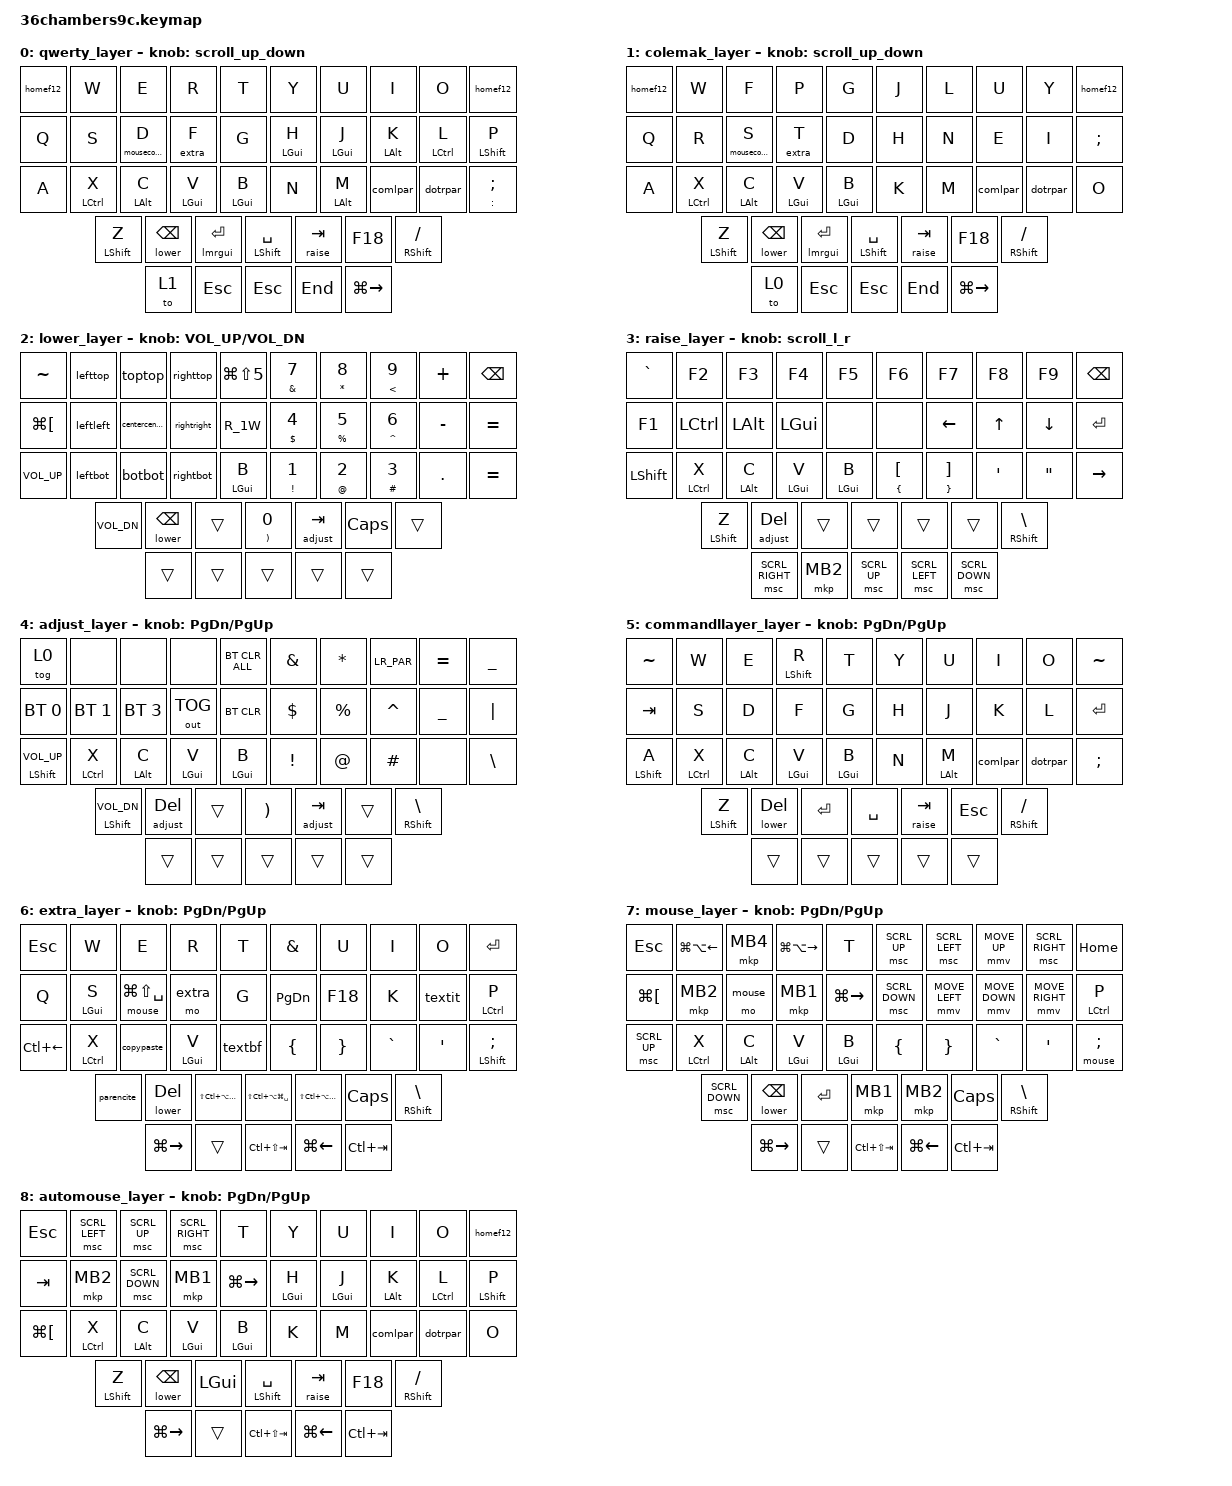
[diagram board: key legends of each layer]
/*
 * Copyright (c) 2020 The ZMK Contributors
 *;
 * SPDX-License-Identifier: MIT
west build -d build/363left -p -b seeeduino_xiao_ble -- -DSHIELD=36chambers3_left
west build -d build/363right -p -b seeeduino_xiao_ble -- -DSHIELD=36chambers3_right

docker cp funny_cray:/workspaces/zmk/app/build/363left/zephyr/zmk.uf2 ~/Desktop/36chambers3L.uf2
docker cp funny_cray:/workspaces/zmk/app/build/363Right/zephyr/zmk.uf2 ~/Desktop/36chambers3R.uf2


west build -d build/369cLeft -p -b seeeduino_xiao_ble -- -DSHIELD=36chambers9c_left -DZMK_EXTRA_MODULES="/workspaces/zmk/app/cirque-input-module-main"
west build -d build/369cRight -p -b seeeduino_xiao_ble -- -DSHIELD=36chambers9c_right -DZMK_EXTRA_MODULES="/workspaces/zmk/app/cirque-input-module-main"
west build -d build/369cCirque -p -b seeeduino_xiao_ble -- -DSHIELD=36chambers9c_cirque -DZMK_EXTRA_MODULES="/workspaces/zmk/app/cirque-input-module-main"

docker cp magical_haslett:/workspaces/zmk/app/build/369cLeft/zephyr/zmk.uf2 ~/Desktop/36chambers9cL.uf2
docker cp magical_haslett:/workspaces/zmk/app/build/369cRight/zephyr/zmk.uf2 ~/Desktop/36chambers9cR.uf2
docker cp magical_haslett:/workspaces/zmk/app/build/369cCirque/zephyr/zmk.uf2 ~/Desktop/36chambers9cC.uf2

docker cp sleepy_burnell:/workspaces/zmk/app/build/369left/zephyr/zmk.uf2 ~/Desktop/36chambers9Lc.uf2
docker cp sleepy_burnell:/workspaces/zmk/app/build/369Right/zephyr/zmk.uf2 ~/Desktop/36chambers9Rc.uf2
 */

#include <behaviors.dtsi>
#include <dt-bindings/zmk/keys.h>
#include <dt-bindings/zmk/bt.h>
#include <dt-bindings/zmk/outputs.h>
#include <dt-bindings/zmk/mouse.h>
#include <dt-bindings/zmk/pointing.h>

#define qwerty 0
#define colemak 1
#define lower 2
#define raise 3
#define adjust 4
#define commandllayer 5
#define extra 6
#define mouse 7
#define automouse 8
// #define cmtoqw 6
// #define lock 7
// #define locklow 8
// #define unlock 9
// #define lockhigh 10
#define ZMK_POINTING_DEFAULT_MOVE_VAL 3500  // default: 600
#define ZMK_POINTING_DEFAULT_SCRL_VAL 30

&mt {
    tapping-term-ms = <200>;
    flavor = "hold-preferred";
};

&lt {
    tapping-term-ms = <200>;
    flavor = "hold-preferred";
};


/{ // <---[[root node]]    
    macros {
        R_1W: R_1W {
            label = "R_1W";
            compatible = "zmk,behavior-macro";
            #binding-cells = <0>;
            wait-ms = <0>;
            tap-ms = <0>;
            bindings
                = <&macro_press &kp LSHFT>
                , <&macro_tap &kp S>
                , <&macro_release &kp LSHFT>
                , <&macro_tap &kp H &kp A &kp W &kp U &kp A &kp J &kp Y &kp D &kp S &kp N>
                ;
        };
        Grader1: GRDR1 {
            label = "GRDR1";
            compatible = "zmk,behavior-macro";
            #binding-cells = <0>;
            wait-ms = <40>;
            tap-ms = <40>;
            bindings
                = <&macro_tap &kp B &kp TAB &kp TAB
                &kp 3 &kp TAB &kp TAB
                &kp 3 &kp TAB &kp TAB
                &kp 3 &kp TAB &kp TAB
                &kp 3 &kp TAB &kp TAB
                &kp 3 &kp TAB &kp TAB
                &kp 3 &kp TAB &kp TAB
                &kp 3 &kp TAB &kp TAB
                &kp 3 &kp TAB &kp TAB
                &kp 3 &kp TAB &kp TAB &kp TAB
                &kp SPACE
                >
                ;
        };
        textit: textit {
            label = "textit";
            compatible = "zmk,behavior-macro";
            #binding-cells = <0>;
            wait-ms = <20>;
            tap-ms = <10>;
            bindings
                = <&macro_tap 
                &kp LBRC &kp LEFT &kp LEFT
                &kp BSLH &kp F &kp K &kp X &kp F &kp L &kp F>
                ,<&macro_press &kp LALT>
                ,<&macro_tap &kp RIGHT &kp RIGHT>
                ,<&macro_release &kp LALT>
                ;
        };
        textbf: textbf {
            label = "textbf";
            compatible = "zmk,behavior-macro";
            #binding-cells = <0>;
            wait-ms = <20>;
            tap-ms = <10>;
            bindings
                = <&macro_tap 
                &kp LBRC &kp LEFT &kp LEFT
                &kp BSLH &kp F &kp K &kp X &kp F &kp B &kp E>
                ,<&macro_press 
                &kp LALT>
                ,<&macro_tap 
                &kp RIGHT &kp RIGHT>
                ,<&macro_release 
                &kp LALT>
                ;
        };
        LR_PAR: LR_PAR {
            label = "LR_PAR";
            compatible = "zmk,behavior-macro";
            #binding-cells = <0>;
            wait-ms = <40>;
            tap-ms = <40>;
            bindings
                = <&macro_press &kp LSHFT>
                , <&macro_tap &kp N9 &kp N0>
                , <&macro_release &kp LSHFT>
                , <&macro_tap &kp LEFT>
                ;
        };
        lmrgui: lmrgui {
            label = "lmrgui";
            compatible = "zmk,behavior-macro";
            wait-ms = <0>;
            tap-ms = <0>;
            #binding-cells = <0>;
            bindings
                = <&macro_press &mo commandllayer &kp RGUI>
                , <&macro_pause_for_release>
                , <&macro_release &mo commandllayer &kp RGUI>
                ;
        };
        mousecombo: mousecombo {
            label = "mousecombo";
            compatible = "zmk,behavior-macro";
            wait-ms = <0>;
            tap-ms = <0>;
            #binding-cells = <0>;
            bindings
                = <&macro_press &kp LGUI &kp LSHFT> 
                , <&macro_tap &kp SPACE>
                , <&macro_release &kp LGUI &kp LSHFT>
                , <&macro_press &mo mouse>
                , <&macro_pause_for_release>
                , <&macro_release &mo mouse>
                ;
        };
        parencite: parencite {
            label = "parencite";
            compatible = "zmk,behavior-macro";
            #binding-cells = <0>;
            wait-ms = <10>;
            tap-ms = <20>;
            bindings
                = <&macro_tap &kp BSLH &kp R &kp A &kp S &kp K &kp J &kp C &kp L &kp F &kp K>
                , <&macro_tap &kp LBKT &kp RBKT  &kp LBRC &kp RBRC &kp LEFT &kp LEFT &kp LBKT &kp RBKT &kp RIGHT &kp RIGHT>
                ;
        };
        // \(\beta\)
        beta: beta {
            label = "beta";
            compatible = "zmk,behavior-macro";
            #binding-cells = <0>;
            wait-ms = <10>;
            tap-ms = <30>;
            bindings
                = <&macro_tap &kp BSLH &kp LPAR &kp BSLH &kp B &kp K &kp J &kp A &kp BSLH &kp RPAR>
                ;
        };
        // ($R^2_{adj}$
        radjsq: radjsq {
            label = "radjsq";
            compatible = "zmk,behavior-macro";
            #binding-cells = <0>;
            wait-ms = <10>;
            tap-ms = <30>;
            bindings
                = <&macro_tap &kp LPAR &kp DLLR>
                , <&macro_press &kp RSHFT> 
                , <&kp S>
                , <&macro_release &kp RSHFT>
                , <&kp AMPS &kp UNDER &kp LBRC &kp A &kp G &kp Y &kp RBRC &kp DLLR>
                ;
        topthirds: topthirds {
            label = "topthirds";
            compatible = "zmk,behavior-macro";
            #binding-cells = <0>;
            wait-ms = <10>;
            tap-ms = <30>;
            bindings
                = <&macro_press &kp LSHFT>
                , <&macro_press &kp LCTL>
                , <&macro_press &kp LALT>
                , <&macro_press &kp LGUI>
                , <&macro_tap &kp N8 &kp F4>
                , <&macro_release &kp LSHFT>
                , <&macro_release &kp LCTL>
                , <&macro_release &kp LALT>
                , <&macro_release &kp LGUI>
                ;
        botthirds: botthirds {
            label = "botthirds";
            compatible = "zmk,behavior-macro";
            #binding-cells = <0>;
            wait-ms = <10>;
            tap-ms = <30>;
            bindings
                = <&macro_press &kp LSHFT>
                , <&macro_press &kp LCTL>
                , <&macro_press &kp LALT>
                , <&macro_press &kp LGUI>
                , <&macro_tap &kp N5 &kp F6>
                , <&macro_release &kp LSHFT>
                , <&macro_release &kp LCTL>
                , <&macro_release &kp LALT>
                , <&macro_release &kp LGUI>
                ;
        };
        centerthirds: centerthirds {
            label = "centerthirds";
            compatible = "zmk,behavior-macro";
            #binding-cells = <0>;
            wait-ms = <10>;
            tap-ms = <30>;
            bindings
                = <&macro_press &kp LSHFT>
                , <&macro_press &kp LCTL>
                , <&macro_press &kp LALT>
                , <&macro_press &kp LGUI>
                , <&macro_tap &kp N2 &kp F5>
                , <&macro_release &kp LSHFT>
                , <&macro_release &kp LCTL>
                , <&macro_release &kp LALT>
                , <&macro_release &kp LGUI>
                ;
        };
        // leftthirds: leftthirds {
        //     label = "leftthirds";
        //     compatible = "zmk,behavior-macro";
        //     #binding-cells = <0>;
        //     wait-ms = <10>;
        //     tap-ms = <30>;
        //     bindings
        //         = <&macro_press &kp LSHFT>
        //         , <&macro_press &kp LCTL>
        //         , <&macro_press &kp LALT>
        //         , <&macro_press &kp LGUI>
        //         , <&macro_tap &kp N1 &kp M>
        //         , <&macro_release &kp LSHFT>
        //         , <&macro_release &kp LCTL>
        //         , <&macro_release &kp LALT>
        //         , <&macro_release &kp LGUI>
        //         ;
        // };
        // rightthirds: rightthirds {
        //     label = "rightthirds";
        //     compatible = "zmk,behavior-macro";
        //     #binding-cells = <0>;
        //     wait-ms = <10>;
        //     tap-ms = <30>;
        //     bindings
        //         = <&macro_press &kp LSHFT>
        //         , <&macro_press &kp LCTL>
        //         , <&macro_press &kp LALT>
        //         , <&macro_press &kp LGUI>
        //         , <&macro_tap &kp N3 &kp M>
        //         , <&macro_release &kp LSHFT>
        //         , <&macro_release &kp LCTL>
        //         , <&macro_release &kp LALT>
        //         , <&macro_release &kp LGUI>
        //         ;
        // };
    };
    };
    behaviors {
        gresc: grave_escape {
            compatible = "zmk,behavior-mod-morph";
            #binding-cells = <0>;
            bindings = <&kp ESC>, <&kp GRAVE>;
            mods = <(MOD_RGUI|MOD_LSFT|MOD_LALT|MOD_LCTL)>;
        };
        mnl: mouse_n_language {
            compatible = "zmk,behavior-hold-tap";
            label = "MOUSE_MODS";
            #binding-cells = <2>;
            tapping-term-ms = <350>;
            quick-tap-ms = <0>;
            flavor = "tap-preferred";
            bindings = <&mo>, <&kp>;
        };
        bhm: balanced_homerow_mods {
            compatible = "zmk,behavior-hold-tap";
            label = "HOMEROW_MODS";
            #binding-cells = <2>;
            tapping-term-ms = <250>;    // <---[[moderate duration]]
            quick-tap-ms = <0>;
            flavor = "balanced";
            bindings = <&kp>, <&kp>;
        };
        tns: tap_number_symbols {
            compatible = "zmk,behavior-hold-tap";
            label = "NUM_SYMBOLS";
            #binding-cells = <2>;
            tapping-term-ms = <250>;    // <---[[moderate duration]]
            quick-tap-ms = <0>;
            flavor = "tap-preferred";
            bindings = <&kp>, <&kp>;
        };//the following two go together
        comlpar: comma_parenthesis {
            compatible = "zmk,behavior-mod-morph";
            label = "COMMA_LPARENTH";
            #binding-cells = <0>;
            bindings = <&kp COMMA>, <&kp LPAR>;
            mods = <(MOD_RSFT)>;
        };
        dotrpar: dot_parenthesis {
            compatible = "zmk,behavior-mod-morph";
            label = "DOT_RPARENTH";
            #binding-cells = <0>;
            bindings = <&kp DOT>, <&kp RPAR>;
            mods = <(MOD_RSFT)>;
        };//the following two go together        
        comlrpar: comma_parentheses {
            compatible = "zmk,behavior-mod-morph";
            label = "COMMA_BOTHPARENTH";
            #binding-cells = <0>;
            bindings = <&kp COMMA>, <&LR_PAR>;
            mods = <(MOD_RSFT)>;
        };
        dotqmark: dot_qmark {
            compatible = "zmk,behavior-mod-morph";
            label = "DOT_QMARK";
            #binding-cells = <0>;
            bindings = <&kp DOT>, <&kp QMARK>;
            mods = <(MOD_RSFT)>;
        };
        qtab: q_cmdandtab {
            compatible = "zmk,behavior-mod-morph";
            label = "Q_CMDANDTAB";
            #binding-cells = <0>;
            bindings = <&kp Q>, <&kp LG(TAB)>;
            mods = <(MOD_LGUI)>;
        };
        tabgui: tabandgui {
            compatible = "zmk,behavior-hold-tap";
            label = "TAB_GUI";
            #binding-cells = <2>;
            flavor = "hold-preferred";
            tapping-term-ms = <200>;
            quick-tap-ms = <125>;
            global-quick-tap;
            bindings = <&lmrgui>, <&kp>;
        };
        dmousecombo: dmousecombo {
            compatible = "zmk,behavior-hold-tap";
            label = "D_MCOMBO";
            #binding-cells = <2>;
            flavor = "tap-preferred";
            tapping-term-ms = <200>;
            quick-tap-ms = <125>;
            global-quick-tap;
            bindings = <&mousecombo>, <&kp>;
        };
        copypaste: copypaste {
            compatible = "zmk,behavior-tap-dance";
            #binding-cells = <0>;
            tapping-term-ms = <200>;
            bindings = <&kp LG(C)>, <&kp LG(V)>, <&kp LG(V)>;
        };
        // td_mt_bspc: tap_dance_layer_tap {
        //     compatible = "zmk,behavior-tap-dance";
        //     #binding-cells = <0>;
        //     tapping-term-ms = <150>;
        //     bindings = <&lt lower BSPC>, <&kp BSPC>;
        // };
        // td_mtt_spc: tap_dance_layer_tap {
        //     compatible = "zmk,behavior-tap-dance";
        //     #binding-cells = <0>;
        //     tapping-term-ms = <150>;
        //     bindings = <&mt LSHFT SPACE>, <&kp SPACE>;
        // };
        qlt: quick_layer_tap {
            compatible = "zmk,behavior-hold-tap";
            #binding-cells = <2>;
            tapping-term-ms = <200>;
            quick-tap-ms = <200>;
            flavor = "hold-preferred";
            bindings = <&mo>, <&kp>;
        };
        qmt: quick_mod_tap {
            compatible = "zmk,behavior-hold-tap";
            #binding-cells = <2>;
            tapping-term-ms = <200>;
            quick-tap-ms = <200>;
            flavor = "hold-preferred";
            bindings = <&kp>, <&kp>;
        };
        wintop: window_top {
            compatible = "zmk,behavior-tap-dance";
            #binding-cells = <0>;
            tapping-term-ms = <150>;
            bindings = <&kp LC(LA(UP))>, <&kp BSPC>;
        };
        scroll_up_down: behavior_sensor_rotate_mouse_wheel_up_down {
	        compatible = "zmk,behavior-sensor-rotate";
	        #sensor-binding-cells = <0>;
            bindings = <&msc SCRL_DOWN>, <&msc SCRL_UP>;
            tap-ms = <20>;
        };
        scroll_l_r: behavior_sensor_rotate_mouse_wheel_left_right {
	        compatible = "zmk,behavior-sensor-rotate";
	        #sensor-binding-cells = <0>;
            bindings = <&msc SCRL_RIGHT>, <&msc SCRL_LEFT>;
            tap-ms = <20>;
        };
        homef12: homef12 {
            compatible = "zmk,behavior-tap-dance";
            #binding-cells = <0>;
            tapping-term-ms = <200>;
            bindings = <&kp ESC>, <&kp HOME>, <&kp F12>;
        };
        lefttop: lefttop {
            compatible = "zmk,behavior-tap-dance";
            #binding-cells = <0>;
            tapping-term-ms = <200>;
            bindings = <&kp LC(LA(LG(PG_UP)))>, <&kp LS(LC(LA(LG(N7))))>;
        };
        righttop: righttop {
            compatible = "zmk,behavior-tap-dance";
            #binding-cells = <0>;
            tapping-term-ms = <200>;
            bindings = <&kp LC(LA(LG(HOME)))>, <&kp LS(LC(LA(LG(N9))))>;
        };
        leftbot: leftbot {
            compatible = "zmk,behavior-tap-dance";
            #binding-cells = <0>;
            tapping-term-ms = <200>;
            bindings = <&kp LC(LA(LG(PG_DN)))>, <&kp LS(LC(LA(LG(N4))))>;
        };
        rightbot: rightbot {
            compatible = "zmk,behavior-tap-dance";
            #binding-cells = <0>;
            tapping-term-ms = <200>;
            bindings = <&kp LC(LA(LG(END)))>, <&kp LS(LC(LA(LG(N6))))>;
        };
        toptop: toptop {
            compatible = "zmk,behavior-tap-dance";
            #binding-cells = <0>;
            tapping-term-ms = <200>;
            bindings = <&kp LC(LA(UP))>, <&topthirds>, <&kp LS(LC(LA(LG(F7))))>;
        };
        botbot: botbot {
            compatible = "zmk,behavior-tap-dance";
            #binding-cells = <0>;
            tapping-term-ms = <200>;
            bindings = <&kp LC(LA(DOWN))>, <&botthirds>, <&kp LS(LC(LA(LG(F9))))>;
        };
        leftleft: leftleft {
            compatible = "zmk,behavior-tap-dance";
            #binding-cells = <0>;
            tapping-term-ms = <200>;
            bindings = <&kp LC(LA(LEFT))>, <&kp LS(LC(LA(LG(N1))))>,  <&kp LS(LC(LA(LG(F1))))>;
        };
        rightright: rightright {
            compatible = "zmk,behavior-tap-dance";
            #binding-cells = <0>;
            tapping-term-ms = <200>;
            bindings = <&kp LC(LA(RIGHT))>, <&kp LS(LC(LA(LG(N3))))>, <&kp LS(LC(LA(LG(F2))))>;
        };
        centercenter: centercenter {
            compatible = "zmk,behavior-tap-dance";
            #binding-cells = <0>;
            tapping-term-ms = <200>;
            bindings = <&kp LC(LA(RET))>, <&centerthirds>;
        };
};

    combos {
        compatible = "zmk,combos";
        // combo_MB1L {
        //     timeout-ms = <50>;
        //     key-positions = <4 14>;
        //     bindings = <&mkp MB1>;
        // };
        combo_MB1R {
            timeout-ms = <50>;
            key-positions = <5 15>;
            bindings = <&mkp MB1>;
        };
        combo_MB2R {
            timeout-ms = <50>;
            key-positions = <6 16>;
            bindings = <&mkp MB2>;
        };
        combo_MB1L {
            timeout-ms = <50>;
            key-positions = <4 14>;
            bindings = <&mkp MB1>;
        };
        combo_MB1L_1 {
            timeout-ms = <50>;
            key-positions = <3 13>;
            bindings = <&mkp MB1>;
        };
        combo_SCROLLDN {
            timeout-ms = <50>;
            key-positions = <11 21>;
            bindings = <&msc SCRL_DOWN>;
        };
        combo_SCROLLUP {
            timeout-ms = <50>;
            key-positions = <1 11>;
            bindings = <&msc SCRL_UP>;
        };
        combo_SCROLLLEFT {
            timeout-ms = <50>;
            key-positions = <10 11>;
            bindings = <&msc SCRL_LEFT>;
        };
        combo_SCROLLRIGHT {
            timeout-ms = <50>;
            // key-positions = <4 14>;
            key-positions = <11 12>;
            bindings = <&msc SCRL_RIGHT>;
        };
        combo_BACK {
            timeout-ms = <50>;
            key-positions = <10 20>;
            bindings = <&kp LG(LBKT)>;
        };
        combo_G {
            timeout-ms = <50>;
            key-positions = <2 3>;
            bindings = <&kp G>;
        };
        combo_D {
            timeout-ms = <50>;
            key-positions = <12 13>;
            bindings = <&kp D>;
        };
        combo_B {
            timeout-ms = <50>;
            key-positions = <22 23>;
            bindings = <&kp B>;
        };
        combo_J {
            timeout-ms = <50>;
            key-positions = <6 7>;
            bindings = <&kp J>;
        };
        combo_H {
            timeout-ms = <50>;
            key-positions = <16 17>;
            bindings = <&kp H>;
        };
        combo_K {
            timeout-ms = <50>;
            key-positions = <26 27>;
            bindings = <&kp K>;
        };
        // combo_MB2R {
        //     timeout-ms = <50>;
        //     key-positions = <7 17>;fsfs
        //     bindings = <&mkp MB2>;
        // };
        // combo_LGLSSPACEL {
        //     timeout-ms = <50>;
        //     key-positions = <13 14>;
        //     bindings = <&kp LG(LS(SPACE))>;
        // };
        // combo_LGLSSPACER {
        //     timeout-ms = <50>;
        //     key-positions = <15 16>;
        //     bindings = <&kp LG(LS(SPACE))>;
        // };
    };
};
    keymap {
        compatible = "zmk,keymap";

        qwerty_layer {
            bindings = <    
    &homef12       &kp W        &kp E        &kp R        &kp T       &kp Y       &kp U       &kp I       &kp O     &homef12
    &kp Q          &kp S        &dmousecombo 0 D  &mnl extra F  &kp G       &bhm LGUI H       &bhm LGUI J       &bhm LALT K       &bhm LCTL L    &bhm LSHFT P
    &kp A          &bhm LCTRL X &bhm LALT C  &bhm LGUI V  &bhm LGUI B &kp N &bhm LALT M &comlpar    &dotrpar  &tns COLON SEMI
    &bhm LSHFT Z                             &qlt lower BSPC &tabgui 0 RET &tns LSHFT SPACE   &lt raise TAB  &kp F18 &mt RSHFT FSLH
    /* &kp N &kp C &kp W &kp S &kp E*/
    /* &kp HOME &kp ESC &kp LG(LS(SPACE)) &kp END &kp LG(RIGHT)*/
    &to 1 &kp ESC &kp ESC &kp END &kp LG(RIGHT)
    /*  &mmv MOVE_RIGHT &mkp MB1 &mmv MOVE_UP  &mmv MOVE_LEFT &mmv MOVE_DOWN
    /* &msc SCRL_RIGHT &kp F12 &msc SCRL_UP  &msc SCRL_LEFT &msc SCRL_DOWN*/
    /*&kp LG(RIGHT) &kp F12 &mkp MB2 &kp LG(LEFT) &mkp MB1*/
                >;
            // sensor-bindings = <&inc_dec_kp X Y>;
            sensor-bindings = <&scroll_up_down>;
        };
        colemak_layer {
            bindings = <
    &homef12        &kp W        &kp F        &kp P       &kp G       &kp J       &kp L       &kp U       &kp Y  &homef12
    &kp Q          &kp R        &dmousecombo 0 S        &mnl extra T       &kp D       &kp H       &kp N       &kp E       &kp I    &kp SEMI
    &kp A          &bhm LCTRL X        &bhm LALT C        &bhm LGUI V       &bhm LGUI B       &kp K       &kp M  &comlpar    &dotrpar  &kp O      
    &bhm LSHFT Z                             &qlt lower BSPC &tabgui 0 RET &tns LSHFT SPACE   &lt raise TAB  &kp F18 &mt RSHFT FSLH
    &to 0 &kp ESC &kp ESC &kp END &kp LG(RIGHT)
                 >;
            sensor-bindings = <&scroll_up_down>;
        };
        lower_layer {
            bindings = <
    &kp TILDE     &lefttop  &toptop       &righttop   &kp LG(LS(N5))   &tns AMPS N7 &tns ASTRK N8 &tns LT N9 &kp PLUS  &kp BSPC 
    &kp LG(LBKT) &leftleft &centercenter &rightright &R_1W            &tns DLLR N4 &tns PRCNT N5 &tns CARET N6 &kp MINUS &kp EQUAL
    &kp C_VOL_UP &leftbot  &botbot       &rightbot   &bhm LGUI B      &tns EXCL N1 &tns AT N2    &tns POUND N3 &kp DOT &kp EQUAL
    &kp C_VOL_DN            &qlt lower BSPC &trans                         &tns RPAR N0 &lt adjust TAB &kp CAPS             &trans
    &trans &trans &trans &trans &trans
                >;
            sensor-bindings = <&inc_dec_kp C_VOL_UP C_VOL_DN>;
        };
        raise_layer {
            bindings = <
    &kp GRAVE       &kp F2       &kp F3      &kp F4       &kp F5      &kp F6  &kp F7   &kp F8   &kp F9   &kp BSPC
    &kp F1       &kp LCTL        &kp LALT       &kp LGUI        &none       &none   &kp LEFT &kp UP   &kp DOWN &kp RET
    &kp LSHFT &bhm LCTRL X &bhm LALT C &bhm LGUI V  &bhm LGUI B  &tns LBRC LBKT &tns RBRC RBKT &kp SQT &kp DQT &kp RIGHT
    &bhm LSHFT Z                &qlt adjust DEL &trans  &trans &trans &trans                     &mt RSHFT BSLH
    &msc SCRL_RIGHT &mkp MB2 &msc SCRL_UP  &msc SCRL_LEFT &msc SCRL_DOWN
                >;
            sensor-bindings = <&scroll_l_r>;
        };
        adjust_layer {
            bindings = <
    &tog 0 &none        &none        &none        &bt BT_CLR_ALL     &kp AMPS &kp ASTRK &LR_PAR  &kp EQUAL &kp UNDER
    &bt BT_SEL 0 &bt BT_SEL 1 &bt BT_SEL 3 &out OUT_TOG &bt BT_CLR   &kp DLLR &kp PRCNT &kp CARET &kp UNDER &kp PIPE
    &bhm LSHFT C_VOL_UP &bhm LCTRL X &bhm LALT C  &bhm LGUI V  &bhm LGUI B &kp EXCL &kp AT    &kp POUND &none &kp BSLH
    &bhm LSHFT C_VOL_DN            &qlt adjust DEL &trans   &kp RPAR &lt adjust TAB &trans &mt RSHFT BSLH
    &trans &trans &trans &trans &trans
                >;
            sensor-bindings = <&inc_dec_kp PG_DN PG_UP>;
        };
        commandllayer_layer {
            bindings = <
    &kp TILDE        &kp W        &kp E        &bhm LSHFT R        &kp T       &kp Y       &kp U       &kp I    &kp O    &kp TILDE
    &kp TAB      &kp S        &kp D        &kp F        &kp G       &kp H       &kp J       &kp K    &kp L    &kp RET
    &bhm LSHFT A   &bhm LCTRL X &bhm LALT C  &bhm LGUI V  &bhm LGUI B &kp N &bhm LALT M &comlpar &dotrpar &kp SEMI
    &bhm LSHFT Z                 &qlt lower DEL &kp RET     &kp SPACE   &lt raise TAB  &kp ESC &mt RSHFT FSLH
    &trans &trans &trans &trans &trans
                >;
            sensor-bindings = <&inc_dec_kp PG_DN PG_UP>;
        };
        extra_layer {
            bindings = <
    &kp ESC        &kp W        &kp E        &kp R        &kp T       &kp AMPS    &kp U       &kp I           &kp O     &kp RET
    &kp Q          &bhm LGUI S        &mt mouse LG(LS(SPACE))  &mo extra     &kp G       &kp PG_DN     &kp F18       &kp K           &textit    &bhm LCTL P
    &kp LC(LEFT)   &bhm LCTRL X &copypaste  &bhm LGUI V  &textbf &kp LBRC &kp RBRC &kp GRAVE &kp SQT  &bhm LSHFT SEMI      
    &parencite              &qlt lower DEL &kp LS(LC(LA(LG(RET))))     &kp LS(LC(LA(LG(SPACE))))   &kp LS(LC(LA(LG(TAB))))   &kp CAPS         &mt RSHFT BSLH
    &kp LG(RIGHT) &trans &kp LC(LS(TAB)) &kp LG(LEFT) &kp LC(TAB)
                >;
            sensor-bindings = <&inc_dec_kp PG_DN PG_UP>;
        };
        mouse_layer {bindings = <
    &kp ESC &kp LG(LA(LEFT)) &mkp MB4  &kp LG(LA(RIGHT))  &kp T       &msc SCRL_UP   &msc SCRL_LEFT &mmv MOVE_UP   &msc SCRL_RIGHT    &kp HOME
    &kp LG(LBKT)    &mkp MB2 &mo mouse  &mkp MB1 &kp LG(RIGHT)      &msc SCRL_DOWN &mmv MOVE_LEFT &mmv MOVE_DOWN &mmv MOVE_RIGHT    &bhm LCTL P
    &msc SCRL_UP   &bhm LCTRL X     &bhm LALT C  &bhm LGUI V  &bhm LGUI B &kp LBRC &kp RBRC &kp GRAVE &kp SQT  &mnl mouse SEMI      
    &msc SCRL_DOWN                &qlt lower BSPC &kp RET     &mkp MB1   &mkp MB2   &kp CAPS         &mt RSHFT BSLH
    &kp LG(RIGHT) &trans &kp LC(LS(TAB)) &kp LG(LEFT) &kp LC(TAB)
                >;
            sensor-bindings = <&inc_dec_kp PG_DN PG_UP>;
        };
        automouse_layer {bindings = <
    &kp ESC &msc SCRL_LEFT &msc SCRL_UP  &msc SCRL_RIGHT  &kp T       &kp Y       &kp U       &kp I       &kp O     &homef12
    &kp TAB   &mkp MB2 &msc SCRL_DOWN  &mkp MB1 &kp LG(RIGHT)   &bhm LGUI H       &bhm LGUI J       &bhm LALT K       &bhm LCTL L    &bhm LSHFT P
    &kp LG(LBKT)          &bhm LCTRL X        &bhm LALT C        &bhm LGUI V       &bhm LGUI B       &kp K       &kp M  &comlpar    &dotrpar  &kp O      
    &bhm LSHFT Z                             &qlt lower BSPC &kp LGUI &tns LSHFT SPACE   &lt raise TAB  &kp F18 &mt RSHFT FSLH
    &kp LG(RIGHT) &trans &kp LC(LS(TAB)) &kp LG(LEFT) &kp LC(TAB)
                >;
            sensor-bindings = <&inc_dec_kp PG_DN PG_UP>;
        };
    };
};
